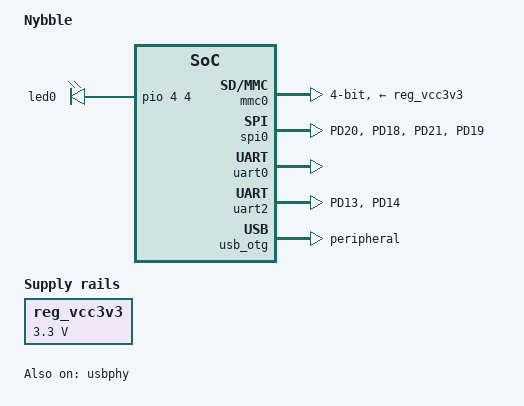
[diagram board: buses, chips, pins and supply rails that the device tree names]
/dts-v1/;
#include "allwinner/suniv-f1c100s.dtsi"

#include <dt-bindings/gpio/gpio.h>

/ {
	model = "Nybble";
	compatible = "allwinner,suniv-f1c100s";

	aliases {
		mmc0 = &mmc0;
		serial0 = &uart0;
		serial2 = &uart2;
		spi0 = &spi0;
		pio = &pio;
	};

	chosen {
		stdout-path = "serial0:115200n8";
	};

	reg_vcc3v3: vcc3v3 {
		compatible = "regulator-fixed";
		regulator-name = "vcc3v3";
		regulator-min-microvolt = <3300000>;
		regulator-max-microvolt = <3300000>;
	};
	
	leds {
		compatible = "gpio-leds";
		status = "okay";

		led0 {
			gpios = <&pio 4 4 GPIO_ACTIVE_HIGH>;
			linux,default-trigger = "heartbeat";
			default-state = "on";
		};
	};

};

&pio {
	spi0_pd_pins: spi0-pd-pins {
		pins = "PD20", "PD18", "PD21", "PD19";
		function = "spi0";
	};


	uart2_pd_pins: uart2-pd-pins {
		pins = "PD13", "PD14";
		function = "uart2";
	};
};

&mmc0 {
	broken-cd;
	bus-width = <4>;
	disable-wp;
	status = "okay";
	vmmc-supply = <&reg_vcc3v3>;
};

&spi0 {
	pinctrl-names = "default";
	pinctrl-0 = <&spi0_pd_pins>;
	status = "okay";
};

&otg_sram {
	status = "okay";
};

&uart0 {
	pinctrl-names = "default";
	pinctrl-0 = <&uart0_pe_pins>;
	status = "okay";
};

&uart2 {
	pinctrl-names = "default";
	pinctrl-0 = <&uart2_pd_pins>;
	status = "okay";
};

&usb_otg {
	dr_mode = "peripheral";
	status = "okay";
};

&usbphy {
	usb0_id_det-gpios = <&pio 4 2 GPIO_ACTIVE_HIGH>; /* PE2 */
	status = "okay";
};

